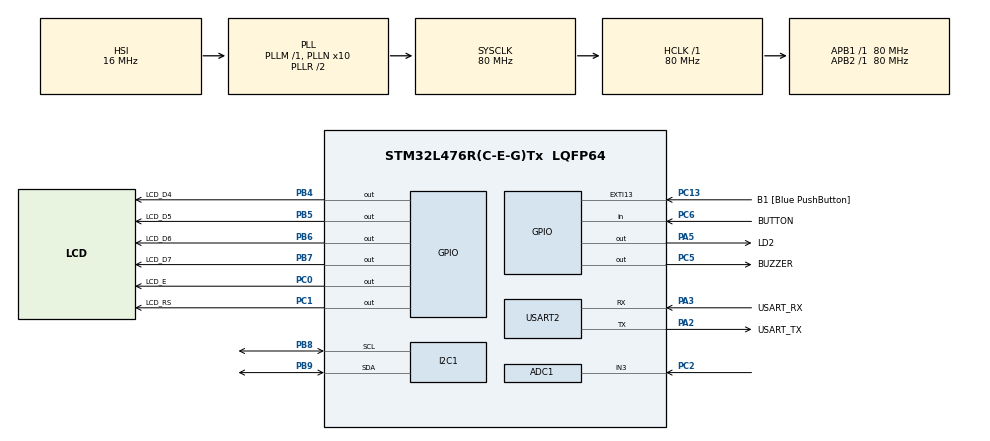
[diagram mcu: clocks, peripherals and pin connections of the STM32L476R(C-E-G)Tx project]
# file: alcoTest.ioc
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ADC1.Channel-0\#ChannelRegularConversion=ADC_CHANNEL_3
ADC1.NbrOfConversionFlag=1
ADC1.OffsetNumber-0\#ChannelRegularConversion=ADC_OFFSET_NONE
ADC1.Rank-0\#ChannelRegularConversion=1
ADC1.SamplingTime-0\#ChannelRegularConversion=ADC_SAMPLETIME_2CYCLES_5
ADC1.master=1
I2C1.Timing=0x10909CEC
Mcu.Family=STM32L4
Mcu.Name=STM32L476R(C-E-G)Tx
Mcu.Package=LQFP64
NVIC.PriorityGroup=NVIC_PRIORITYGROUP_4
PA13\ (JTMS-SWDIO).GPIO_Label=TMS
PA13\ (JTMS-SWDIO).Mode=Serial_Wire
PA13\ (JTMS-SWDIO).Signal=SYS_JTMS-SWDIO
PA14\ (JTCK-SWCLK).GPIO_Label=TCK
PA14\ (JTCK-SWCLK).Mode=Serial_Wire
PA14\ (JTCK-SWCLK).Signal=SYS_JTCK-SWCLK
PA2.GPIO_Label=USART_TX
PA2.GPIO_Mode=GPIO_MODE_AF_PP
PA2.GPIO_PuPd=GPIO_NOPULL
PA2.GPIO_Speed=GPIO_SPEED_FREQ_VERY_HIGH
PA2.Mode=Asynchronous
PA2.Signal=USART2_TX
PA3.GPIO_Label=USART_RX
PA3.GPIO_Mode=GPIO_MODE_AF_PP
PA3.GPIO_PuPd=GPIO_NOPULL
PA3.GPIO_Speed=GPIO_SPEED_FREQ_VERY_HIGH
PA3.Mode=Asynchronous
PA3.Signal=USART2_RX
PA5.GPIO_Label=LD2
PA5.GPIO_ModeDefaultOutputPP=GPIO_MODE_OUTPUT_PP
PA5.GPIO_PuPd=GPIO_NOPULL
PA5.GPIO_Speed=GPIO_SPEED_FREQ_LOW
PA5.Signal=GPIO_Output
PB3\ (JTDO-TRACESWO).GPIO_Label=SWO
PB3\ (JTDO-TRACESWO).Signal=SYS_JTDO-SWO
PB4\ (NJTRST).GPIO_Label=LCD_D4
PB4\ (NJTRST).Signal=GPIO_Output
PB5.GPIO_Label=LCD_D5
PB5.Signal=GPIO_Output
PB6.GPIO_Label=LCD_D6
PB6.Signal=GPIO_Output
PB7.GPIO_Label=LCD_D7
PB7.Signal=GPIO_Output
PB8.Mode=I2C
PB8.Signal=I2C1_SCL
PB9.Mode=I2C
PB9.Signal=I2C1_SDA
PC0.GPIO_Label=LCD_E
PC0.Signal=GPIO_Output
PC1.GPIO_Label=LCD_RS
PC1.Signal=GPIO_Output
PC13.GPIO_Label=B1 [Blue PushButton]
PC13.GPIO_ModeDefaultEXTI=GPIO_MODE_IT_FALLING
PC13.GPIO_PuPd=GPIO_NOPULL
PC13.Signal=GPXTI13
PC14-OSC32_IN\ (PC14).Mode=LSE-External-Oscillator
PC14-OSC32_IN\ (PC14).Signal=RCC_OSC32_IN
PC15-OSC32_OUT\ (PC15).Mode=LSE-External-Oscillator
PC15-OSC32_OUT\ (PC15).Signal=RCC_OSC32_OUT
PC2.Signal=ADCx_IN3
PC5.GPIO_Label=BUZZER
PC5.Signal=GPIO_Output
PC6.GPIO_Label=BUTTON
PC6.GPIO_PuPd=GPIO_PULLUP
PC6.Signal=GPIO_Input
PH0-OSC_IN\ (PH0).Signal=RCC_OSC_IN
PH1-OSC_OUT\ (PH1).Signal=RCC_OSC_OUT
ProjectManager.HeapSize=0x200
ProjectManager.StackSize=0x400
ProjectManager.TargetToolchain=STM32CubeIDE
RCC.ADCFreq_Value=64000000
RCC.AHBFreq_Value=80000000
RCC.APB1Freq_Value=80000000
RCC.APB1TimFreq_Value=80000000
RCC.APB2Freq_Value=80000000
RCC.APB2TimFreq_Value=80000000
RCC.CortexFreq_Value=80000000
RCC.HCLKFreq_Value=80000000
RCC.HSE_VALUE=8000000
RCC.HSI_VALUE=16000000
RCC.MSI_VALUE=4000000
RCC.PLLN=10
RCC.PLLSourceVirtual=RCC_PLLSOURCE_HSI
RCC.PREFETCH_ENABLE=1
RCC.SYSCLKFreq_VALUE=80000000
RCC.SYSCLKSource=RCC_SYSCLKSOURCE_PLLCLK
RCC.USBFreq_Value=64000000
RCC.VCOOutputFreq_Value=160000000
SH.ADCx_IN3.0=ADC1_IN3,IN3-Single-Ended
TIM1.Prescaler=79
USART2.VirtualMode-Asynchronous=VM_ASYNC
VP_TIM1_VS_ClockSourceINT.Mode=Internal
board=NUCLEO-L476RG

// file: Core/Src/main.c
/* USER CODE BEGIN Header */
/**
  ******************************************************************************
  * @file           : main.c
  * @brief          : Main program body
  ******************************************************************************
  * @attention
  *
  * Copyright (c) 2024 STMicroelectronics.
  * All rights reserved.
  *
  * This software is licensed under terms that can be found in the LICENSE file
  * in the root directory of this software component.
  * If no LICENSE file comes with this software, it is provided AS-IS.
  *
  ******************************************************************************
  */
/* USER CODE END Header */
#include "main.h"
#include "adc.h"
#include "i2c.h"
#include "tim.h"
#include "usart.h"
#include "gpio.h"

/* USER CODE BEGIN Includes */
#include <stdio.h>
#include "lcd_i2c.h"
#include <stdbool.h>
#include <math.h>
/* USER CODE END Includes */

/* USER CODE BEGIN PV */
struct lcd_disp disp;
/* USER CODE END PV */

void SystemClock_Config(void);

/* USER CODE BEGIN 0 */
int __io_putchar(int ch)
{
  if (ch == '\n') {
    __io_putchar('\r');
  }

  HAL_UART_Transmit(&huart2, (uint8_t*)&ch, 1, HAL_MAX_DELAY);

  return 1;
}

#define HEATING_TIME	3
void startHeating()
{
	lcd_clear(&disp);
	sprintf((char*)disp.f_line,"Wcisnij przycisk");
	sprintf((char*)disp.s_line," ");
	lcd_display(&disp);
	while(HAL_GPIO_ReadPin(BUTTON_GPIO_Port, BUTTON_Pin) == GPIO_PIN_SET);
	for(int i = HEATING_TIME; i > 0; i--)
	{
		sprintf((char*)disp.f_line,"Nagrzewanie...");
		sprintf((char*)disp.s_line,"Poczekaj: %d s",i);
		lcd_display(&disp);
		HAL_Delay(1000);
	}
	lcd_clear(&disp);
}

uint32_t sensorValue()
{
	HAL_ADC_Start(&hadc1);
	HAL_ADC_PollForConversion(&hadc1, HAL_MAX_DELAY);
	uint32_t value = HAL_ADC_GetValue(&hadc1);
	printf("ADC = %lu\n", value);
	HAL_Delay(250);
	return value;
}

float sensorValuetoV(uint32_t adcValue)
{
	float voltage = ((float)adcValue * 5) / 1024;
	printf("V = %f\n", voltage);
	return voltage;
}

//Pomiar ADC ma delay 250 stad to:
//4000/250 = 16
#define measTIME	16
uint32_t measurementMode()
{
	uint32_t maximumValue = 0;
	uint32_t value = 0;
	lcd_clear(&disp);
	sprintf((char*)disp.f_line,"Trwa pomiar...");
	sprintf((char*)disp.s_line," ");
	lcd_display(&disp);
	for(int i = 0; i < measTIME; i++)
	{
		HAL_GPIO_WritePin(BUZZER_GPIO_Port, BUZZER_Pin, GPIO_PIN_SET);
		value = sensorValue();
		if(value > maximumValue)
		{
			maximumValue = value;
		}
	}
	HAL_GPIO_WritePin(BUZZER_GPIO_Port, BUZZER_Pin, GPIO_PIN_RESET);
	return maximumValue;
}

// PPM = 150.4351049*v^5 - 2244.75988*v^4 + 13308.5139*v^3 -
//       39136.08594*v^2 + 57082.6258*v - 32982.05333
double calcPPM(double v)
{
	double PPM = 0;
	PPM = 150.4351049*pow(v,5) - 2244.75988*pow(v,4) + 13308.5139*pow(v,3) -
		  39136.08594*pow(v,2) + 57082.6258*v - 32982.05333;
	printf("PPM = %.2lf\n", PPM);
	return PPM;
}

float calcBAC(double ppm)
{
	float BAC;
	if(ppm <= 70) {
		BAC = 0;
	} else if(ppm >= 500) {
		BAC = 888888;
	} else {
	BAC = ppm / 2600.0f;
	}
	printf("BAC = %.3f\n ", BAC);
	return BAC;
}
/* USER CODE END 0 */

int main(void)
{

  /* MCU Configuration--------------------------------------------------------*/

  /* Reset of all peripherals, Initializes the Flash interface and the Systick. */
  HAL_Init();

  /* Configure the system clock */
  SystemClock_Config();

  /* Initialize all configured peripherals */
  MX_GPIO_Init();
  MX_USART2_UART_Init();
  MX_TIM1_Init();
  MX_I2C1_Init();
  MX_ADC1_Init();
  /* USER CODE BEGIN 2 */
  //LCD config
  disp.addr = (0x27 << 1);
  disp.bl = true;
  lcd_init(&disp);

  uint32_t maxValue = 0;
  float maxValueVoltage = 0;
  double PPM = 0;
  float BAC = 0;

  /* USER CODE END 2 */

  /* Infinite loop */
  /* USER CODE BEGIN WHILE */
  while (1)
  {
	   startHeating();
	   maxValue = measurementMode();
	   maxValueVoltage = sensorValuetoV(maxValue);
	   PPM = calcPPM((double)maxValueVoltage);
	   BAC = calcBAC(PPM);
	   lcd_clear(&disp);
	   sprintf((char*)disp.f_line, "Wynik pomiaru: ");
	   sprintf((char*)disp.s_line, "BAC = %.3f",BAC);
	   lcd_display(&disp);
	   HAL_Delay(5000);
    /* USER CODE END WHILE */

  }
}

void SystemClock_Config(void)
{
  RCC_OscInitTypeDef RCC_OscInitStruct = {0};
  RCC_ClkInitTypeDef RCC_ClkInitStruct = {0};

  /** Configure the main internal regulator output voltage
  */
  if (HAL_PWREx_ControlVoltageScaling(PWR_REGULATOR_VOLTAGE_SCALE1) != HAL_OK)
  {
    Error_Handler();
  }

  /** Initializes the RCC Oscillators according to the specified parameters
  * in the RCC_OscInitTypeDef structure.
  */
  RCC_OscInitStruct.OscillatorType = RCC_OSCILLATORTYPE_HSI;
  RCC_OscInitStruct.HSIState = RCC_HSI_ON;
  RCC_OscInitStruct.HSICalibrationValue = RCC_HSICALIBRATION_DEFAULT;
  RCC_OscInitStruct.PLL.PLLState = RCC_PLL_ON;
  RCC_OscInitStruct.PLL.PLLSource = RCC_PLLSOURCE_HSI;
  RCC_OscInitStruct.PLL.PLLM = 1;
  RCC_OscInitStruct.PLL.PLLN = 10;
  RCC_OscInitStruct.PLL.PLLP = RCC_PLLP_DIV7;
  RCC_OscInitStruct.PLL.PLLQ = RCC_PLLQ_DIV2;
  RCC_OscInitStruct.PLL.PLLR = RCC_PLLR_DIV2;
  if (HAL_RCC_OscConfig(&RCC_OscInitStruct) != HAL_OK)
  {
    Error_Handler();
  }

  /** Initializes the CPU, AHB and APB buses clocks
  */
  RCC_ClkInitStruct.ClockType = RCC_CLOCKTYPE_HCLK|RCC_CLOCKTYPE_SYSCLK
                              |RCC_CLOCKTYPE_PCLK1|RCC_CLOCKTYPE_PCLK2;
  RCC_ClkInitStruct.SYSCLKSource = RCC_SYSCLKSOURCE_PLLCLK;
  RCC_ClkInitStruct.AHBCLKDivider = RCC_SYSCLK_DIV1;
  RCC_ClkInitStruct.APB1CLKDivider = RCC_HCLK_DIV1;
  RCC_ClkInitStruct.APB2CLKDivider = RCC_HCLK_DIV1;

  if (HAL_RCC_ClockConfig(&RCC_ClkInitStruct, FLASH_LATENCY_4) != HAL_OK)
  {
    Error_Handler();
  }
}

void Error_Handler(void)
{
  __disable_irq();
  while (1)
  {
  }
}
